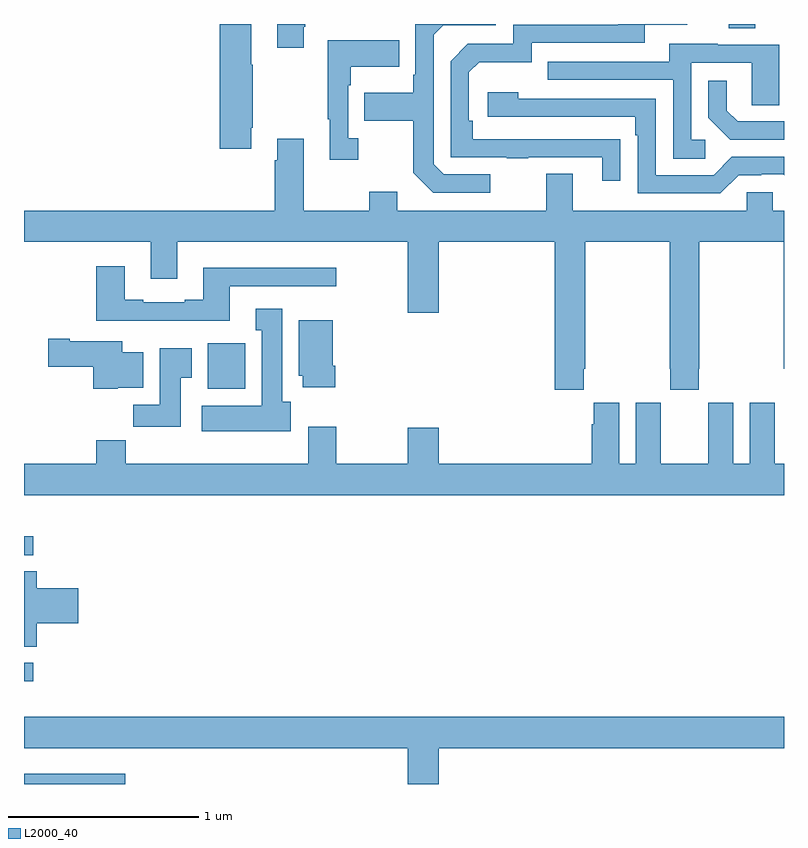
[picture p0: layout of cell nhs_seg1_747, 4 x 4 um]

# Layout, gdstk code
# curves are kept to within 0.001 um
import gdstk
lib = gdstk.Library(unit=1e-6, precision=1e-09)
def R(c, l, rs):  # rectangles x0, y0, x1, y1
    for r in rs: c.add(gdstk.rectangle(r[:2], r[2:], *l))
def P(c, l, *ps):  # polygons
    for p in ps: c.add(gdstk.Polygon(p, *l))
L2000_40 = (2000, 40)

nhs_seg1_747 = lib.new_cell('nhs_seg1_747')
R(nhs_seg1_747, L2000_40, [(151,562.199,151.534,562.252), (151,562.74,151.048,562.836), (151,563.403,151.048,563.502), (151.967,564.278,152.164,564.52), (154.709,566.176,154.849,566.199)])
P(nhs_seg1_747, L2000_40, [(152.197,565.654),(152.205,565.654),(152.205,565.985),(152.197,565.985),(152.197,566.199),(152.03,566.199),(152.03,565.542),(152.197,565.542)],
  [(152.473,566.185),(152.481,566.185),(152.481,566.199),(152.333,566.199),(152.333,566.073),(152.473,566.073)],
  [(153.454,565.407),(153.21,565.407),(153.156,565.461),(153.156,566.142),(153.207,566.193),(153.484,566.193),(153.484,566.199),(153.06,566.199),(153.06,565.933),(153.048,565.933),(153.048,565.837),(152.791,565.837),(152.791,565.69),(153.048,565.69),(153.048,565.417),(153.153,565.311),(153.454,565.311)],
  [(154.139,565.592),(153.362,565.593),(153.362,565.69),(153.342,565.69),(153.342,565.944),(153.395,565.997),(153.672,565.997),(153.672,566.1),(154.267,566.1),(154.267,566.196),(154.492,566.196),(154.492,566.199),(154.127,566.199),(154.127,566.196),(153.576,566.196),(153.576,566.094),(153.336,566.094),(153.246,566.004),(153.246,565.497),(153.541,565.497),(153.541,565.492),(153.653,565.492),(153.653,565.497),(154.043,565.497),(154.043,565.374),(154.139,565.374)],
  [(152.758,565.598),(152.706,565.598),(152.706,565.877),(152.719,565.877),(152.719,565.973),(152.975,565.973),(152.975,566.113),(152.598,566.113),(152.598,565.697),(152.609,565.697),(152.609,565.485),(152.758,565.485)],
  [(154.585,565.59),(154.512,565.59),(154.512,565.995),(154.83,565.995),(154.83,565.771),(154.975,565.771),(154.975,566.091),(154.651,566.091),(154.651,566.095),(154.397,566.095),(154.397,566.001),(153.757,566.001),(153.757,565.905),(154.416,565.905),(154.416,565.489),(154.585,565.489)],
  [(155,565.686),(154.756,565.686),(154.699,565.743),(154.699,565.9),(154.602,565.9),(154.602,565.706),(154.718,565.59),(155,565.59)],
  [(154.761,565.404),(154.88,565.404),(154.88,565.407),(154.995,565.407),(155,565.402),(155,565.5),(154.725,565.5),(154.629,565.404),(154.326,565.404),(154.326,565.806),(153.602,565.806),(153.602,565.84),(153.441,565.84),(153.441,565.71),(154.217,565.71),(154.217,565.613),(154.23,565.613),(154.23,565.308),(154.665,565.308)],
  [(153.947,564.385),(153.954,564.385),(153.954,565.052),(154.399,565.052),(154.399,564.385),(154.401,564.385),(154.401,564.273),(154.551,564.273),(154.551,564.385),(154.554,564.385),(154.554,565.052),(154.999,565.052),(154.999,564.385),(155,564.385),(155,565.216),(154.941,565.216),(154.941,565.314),(154.803,565.314),(154.803,565.216),(153.889,565.216),(153.889,565.411),(153.749,565.411),(153.749,565.216),(152.965,565.216),(152.965,565.315),(152.818,565.315),(152.818,565.216),(152.473,565.216),(152.473,565.594),(152.333,565.594),(152.333,565.481),(152.321,565.481),(152.321,565.216),(151,565.216),(151,565.052),(151.667,565.052),(151.667,564.858),(151.807,564.858),(151.807,565.052),(153.02,565.052),(153.02,564.678),(153.184,564.678),(153.184,565.052),(153.794,565.052),(153.794,564.273),(153.947,564.273)],
  [(152.083,564.819),(152.644,564.819),(152.644,564.916),(151.943,564.916),(151.943,564.748),(151.847,564.748),(151.847,564.735),(151.627,564.735),(151.627,564.748),(151.531,564.748),(151.531,564.925),(151.379,564.925),(151.379,564.638),(152.083,564.638)],
  [(152.404,564.21),(152.359,564.21),(152.359,564.7),(152.219,564.7),(152.219,564.587),(152.252,564.587),(152.252,564.19),(151.935,564.19),(151.935,564.056),(152.404,564.056)],
  [(152.639,564.4),(152.626,564.4),(152.626,564.64),(152.447,564.64),(152.447,564.348),(152.468,564.348),(152.468,564.288),(152.639,564.288)],
  [(151.494,564.284),(151.627,564.284),(151.627,564.472),(151.516,564.472),(151.516,564.529),(151.24,564.529),(151.24,564.542),(151.128,564.542),(151.128,564.395),(151.364,564.395),(151.364,564.278),(151.494,564.278)],
  [(151.825,564.337),(151.882,564.337),(151.882,564.493),(151.715,564.493),(151.715,564.196),(151.576,564.196),(151.576,564.078),(151.825,564.078)],
  [(155,563.884),(154.951,563.884),(154.951,564.092),(154.95,564.092),(154.95,564.205),(154.82,564.205),(154.82,563.884),(154.732,563.884),(154.732,564.205),(154.602,564.205),(154.602,564.092),(154.601,564.092),(154.601,563.884),(154.351,563.884),(154.351,564.092),(154.35,564.092),(154.35,564.205),(154.22,564.205),(154.22,563.884),(154.132,563.884),(154.132,564.205),(153.998,564.205),(153.998,564.092),(153.989,564.092),(153.989,563.884),(153.184,563.884),(153.184,564.073),(153.02,564.073),(153.02,563.884),(152.643,563.884),(152.643,564.079),(152.495,564.079),(152.495,563.884),(151.535,563.884),(151.535,564.008),(151.379,564.008),(151.379,563.884),(151,563.884),(151,563.72),(155,563.72)],
  [(151.067,563.045),(151.285,563.045),(151.285,563.228),(151.067,563.228),(151.067,563.318),(151,563.318),(151,562.921),(151.067,562.921)],
  [(153.184,562.388),(155,562.388),(155,562.552),(151,562.552),(151,562.388),(153.02,562.388),(153.02,562.199),(153.184,562.199)])

lib.write_gds('nhs_seg1_747.gds')
